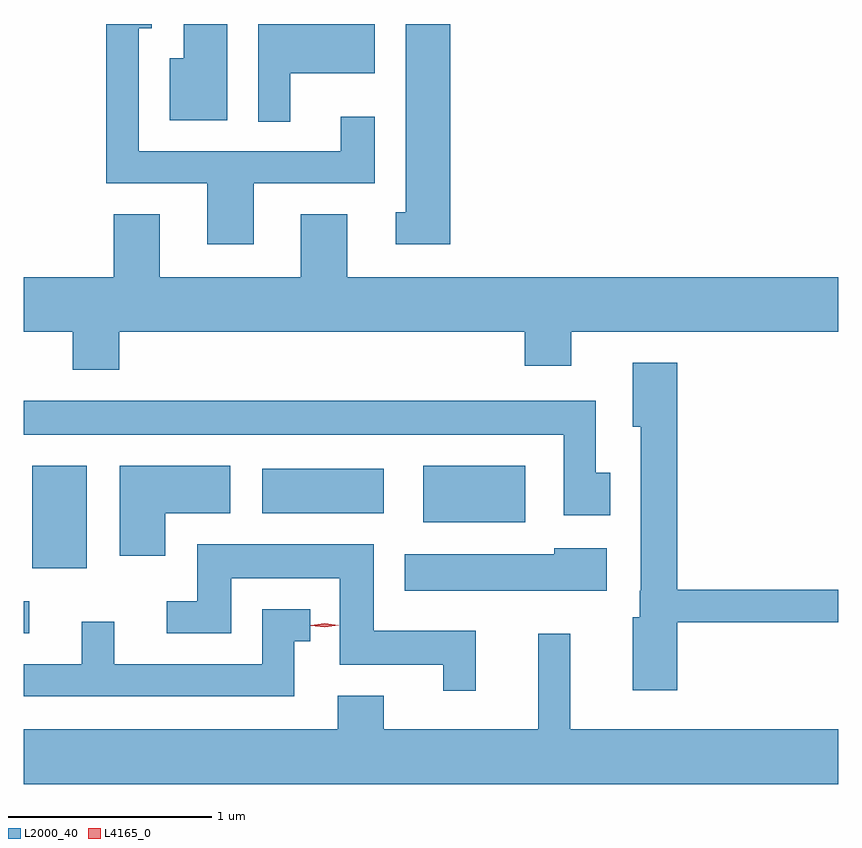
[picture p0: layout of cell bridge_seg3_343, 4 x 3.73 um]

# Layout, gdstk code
import gdstk
lib = gdstk.Library(unit=1e-6, precision=1e-09)
def R(c, l, rs):  # rectangles x0, y0, x1, y1
    for r in rs: c.add(gdstk.rectangle(r[:2], r[2:], *l))
def P(c, l, *ps):  # polygons
    for p in ps: c.add(gdstk.Polygon(p, *l))
L2000_40 = (2000, 40)
L4165_0 = (4165, 0)

bridge_seg3_343 = lib.new_cell('bridge_seg3_343')
R(bridge_seg3_343, L2000_40, [(676.64,1204.456,676.668,1204.614), (676.681,1204.776,676.949,1205.279), (678.601,1205.001,679.104,1205.279), (677.811,1205.046,678.409,1205.264)])
P(bridge_seg3_343, L2000_40, [(678.734,1207.448),(678.516,1207.448),(678.516,1206.524),(678.468,1206.524),(678.468,1206.366),(678.734,1206.366)],
  [(677.639,1207.448),(677.426,1207.448),(677.426,1207.279),(677.356,1207.279),(677.356,1206.976),(677.639,1206.976)],
  [(677.769,1206.666),(678.364,1206.666),(678.364,1206.993),(678.196,1206.993),(678.196,1206.824),(677.204,1206.824),(677.204,1207.426),(677.269,1207.426),(677.269,1207.448),(677.046,1207.448),(677.046,1206.666),(677.541,1206.666),(677.541,1206.366),(677.769,1206.366)],
  [(677.949,1207.206),(678.364,1207.206),(678.364,1207.448),(677.791,1207.448),(677.791,1206.968),(677.949,1206.968)],
  [(677.109,1205.936),(679.101,1205.936),(679.101,1205.771),(679.329,1205.771),(679.329,1205.936),(680.64,1205.936),(680.64,1206.204),(678.229,1206.204),(678.229,1206.514),(678.001,1206.514),(678.001,1206.204),(677.309,1206.204),(677.309,1206.514),(677.081,1206.514),(677.081,1206.204),(676.64,1206.204),(676.64,1205.936),(676.881,1205.936),(676.881,1205.751),(677.109,1205.751)],
  [(679.849,1204.511),(680.64,1204.511),(680.64,1204.669),(679.849,1204.669),(679.849,1205.784),(679.631,1205.784),(679.631,1205.471),(679.671,1205.471),(679.671,1204.665),(679.666,1204.665),(679.666,1204.534),(679.631,1204.534),(679.631,1204.176),(679.849,1204.176)],
  [(679.519,1205.244),(679.449,1205.244),(679.449,1205.599),(676.64,1205.599),(676.64,1205.431),(679.291,1205.431),(679.291,1205.036),(679.519,1205.036)],
  [(677.334,1205.046),(677.654,1205.046),(677.654,1205.279),(677.111,1205.279),(677.111,1204.836),(677.334,1204.836)],
  [(678.859,1204.469),(678.359,1204.469),(678.359,1204.894),(677.491,1204.894),(677.491,1204.614),(677.343,1204.614),(677.343,1204.456),(677.659,1204.456),(677.659,1204.726),(678.191,1204.726),(678.191,1204.301),(678.701,1204.301),(678.701,1204.173),(678.859,1204.173)],
  [(679.504,1204.874),(679.246,1204.874),(679.246,1204.844),(678.511,1204.844),(678.511,1204.666),(679.504,1204.666)],
  [(677.969,1204.416),(678.048,1204.416),(678.048,1204.574),(677.811,1204.574),(677.811,1204.304),(677.084,1204.304),(677.084,1204.513),(676.926,1204.513),(676.926,1204.304),(676.64,1204.304),(676.64,1204.146),(677.969,1204.146)],
  [(680.64,1203.984),(679.324,1203.984),(679.324,1204.453),(679.166,1204.453),(679.166,1203.984),(678.409,1203.984),(678.409,1204.149),(678.181,1204.149),(678.181,1203.984),(676.64,1203.984),(676.64,1203.716),(680.64,1203.716)])
P(bridge_seg3_343, L4165_0, [(678.118,1204.485),(678.049,1204.494),(678.049,1204.495),(678.049,1204.495),(678.118,1204.505),(678.188,1204.496),(678.188,1204.496),(678.188,1204.495)])

lib.write_gds('bridge_seg3_343.gds')
